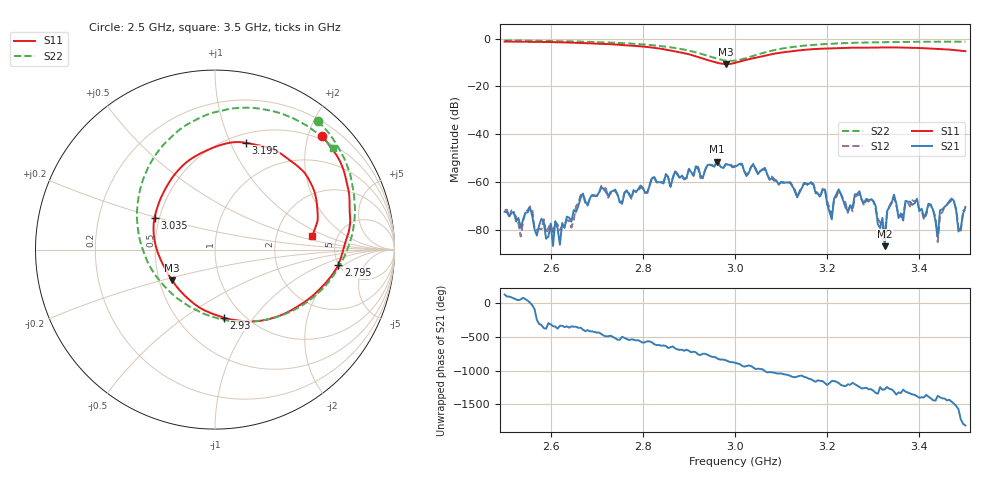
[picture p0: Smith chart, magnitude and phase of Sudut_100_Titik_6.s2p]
# Hz S RI R 50
! CMT, C1220, 16058040, 17.2.0/1
! Date: 15/08/2018 10:16:32
! Data: Format (Calibration Info)
! Freq  S11: Re/Im (F2)  S21: Re/Im (F2)  S12: Re/Im (F2)  S22: Re/Im (F2)
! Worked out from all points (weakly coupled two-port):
!   201 points, 2.5 GHz to 3.5 GHz, reference 50 ohm
!   highest |S21| = -51.48 dB at 2.96 GHz (marker M1); lowest = -86.9 dB at 3.325 GHz (marker M2)
!   lowest |S11| = -10.6 dB at 2.98 GHz (marker M3), VSWR 1.83, Z = 29.2 - j11 ohm
!   |S11| at or under -10 dB: 2.959 GHz to 3.002 GHz (43.07 MHz wide, 1.45 % of centre)
!   |S22| runs from -9.3 to -0.7 dB; largest |S21 - S12| = 0.00023
!   S11 on the Smith chart (normalised r, x): 2.5 GHz: 0.43, +2.25; 2.795 GHz: 4.97, -1.61; 2.93 GHz: 0.82, -0.72; 3.035 GHz: 0.47, +0.20; 3.195 GHz: 0.59, +1.15; 3.5 GHz: 3.25, +0.72
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2.5e9  0.5969 0.6339  -0.00012 0.000206  -0.000132 0.000222  0.5731 0.7168
2.645e9  0.7344 0.3717  0.000145 3.01e-05  9.73e-05 5.34e-05  0.725 0.4971
2.67e9  0.7462 0.3153  0.000452 -0.000355  0.000392 -0.000392  0.745 0.4431
2.795e9  0.6874 -0.0842  -0.000717 0.000446  -0.000664 0.000368  0.7626 0.0791
2.835e9  0.5818 -0.2218  -0.000103 0.000982  -0.000156 0.001  0.7022 -0.0749
2.93e9  0.0496 -0.3791  0.00102 -0.000662  0.00109 -0.000544  0.2555 -0.3955
2.96e9  -0.1403 -0.2819  -0.000154 -0.00266  -0.000126 -0.00276  0.0176 -0.3834
2.98e9  -0.2391 -0.1714  -0.00147 -0.00187  -0.00136 -0.0019  -0.1406 -0.3184
3e9  -0.3086 -0.0429  -0.00205 -0.0005  -0.00209 -0.000453  -0.277 -0.2092
3.035e9  -0.3366 0.1786  -0.00176 0.00113  -0.00177 0.00106  -0.419 0.0545
3.17e9  0.0936 0.5971  0.000319 -0.000859  0.000329 -0.000831  -0.0736 0.7391
3.195e9  0.1739 0.5947  -0.000176 -0.000677  -0.000278 -0.000669  0.0185 0.7699
3.21e9  0.2209 0.5859  4.77e-05 -0.000159  4.05e-05 -0.000209  0.0715 0.7817
3.225e9  0.2658 0.5769  -0.000173 -0.000682  -0.000165 -0.00064  0.1202 0.7884
3.27e9  0.3718 0.5312  -0.000604 -0.000215  -0.000536 -0.000138  0.2546 0.7843
3.325e9  0.4795 0.448  -4.38e-05 1.18e-05  -8.06e-05 3e-05  0.3859 0.7519
3.335e9  0.495 0.4324  -0.000294 5.13e-05  -0.000299 9.8e-05  0.4079 0.7435
3.425e9  0.5683 0.2481  0.000275 0.000166  0.000275 0.0002  0.5634 0.6537
3.44e9  0.5712 0.2115  2.82e-05 6.54e-05  1.07e-05 5.44e-05  0.585 0.6353
3.47e9  0.567 0.1451  0.000429 -0.00014  0.000386 -0.00013  0.6215 0.6016
3.485e9  0.5554 0.1122  -6.05e-05 -6.91e-05  -4.52e-05 -9.87e-05  0.6394 0.5824
3.5e9  0.5421 0.0774  0.000296 -4.96e-05  0.000247 -9.51e-05  0.6562 0.5645
